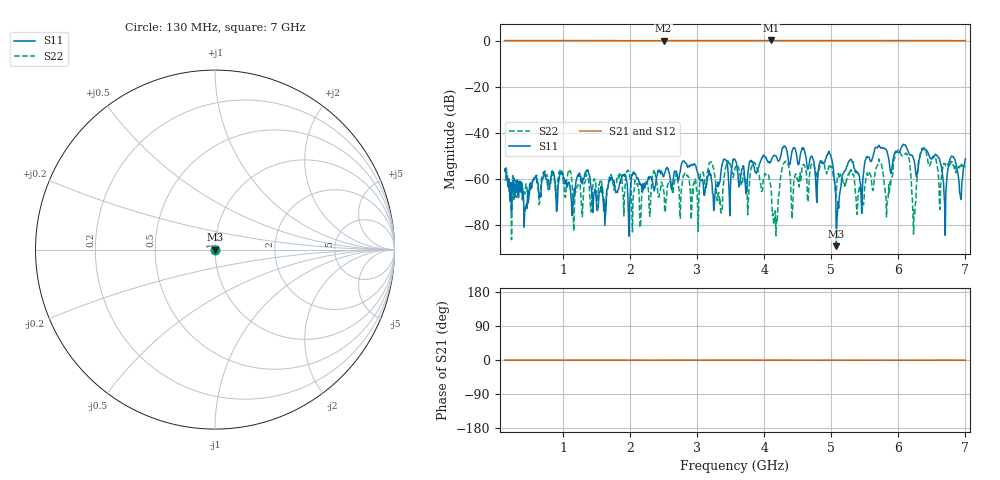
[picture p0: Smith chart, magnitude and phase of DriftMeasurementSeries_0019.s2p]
# Hz S RI R 50.000000
! Metas.Vna.Tools, 2.8.8664.20301
! Metas.Vna.Data, 2.8.8664.20285
! Created: UTC 2024.02.11 10:08:11
! FREQ  re:S1,1  im:S1,1  re:S2,1  im:S2,1  re:S1,2  im:S1,2  re:S2,2  im:S2,2
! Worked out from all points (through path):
!   801 points, 130 MHz to 7 GHz, reference 50 ohm
!   highest |S21| = 0.02 dB at 4.097 GHz (marker M1); lowest = -0.1 dB at 2.5 GHz (marker M2)
!   lowest |S11| = -89.2 dB at 5.076 GHz (marker M3), VSWR 1.00, Z = 50 - j0.00106 ohm
!   |S11| at or under -10 dB: start of sweep to end of sweep
!   |S22| runs from -86.4 to -46.5 dB; largest |S21 - S12| = 0.011
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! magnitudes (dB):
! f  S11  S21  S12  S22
! 130 MHz  -56.6  0.0  0.0  -60.7
! 447.7 MHz  -72.1  0.0  0.0  -62.3
! 1.281 GHz  -59.8  0.0  0.0  -72.5
! 2.423 GHz  -57.0  0.0  0.0  -67.9
! 2.5 GHz  -59.1  -0.1  0.0  -64.7
! 3.264 GHz  -67.5  0.0  0.0  -58.6
! 3.565 GHz  -51.5  0.0  0.0  -55.1
! 4.097 GHz  -52.6  0.0  0.0  -62.9
! 4.166 GHz  -49.9  0.0  0.0  -73.9
! 4.304 GHz  -46.1  0.0  0.0  -52.6
! 4.424 GHz  -47.4  0.0  0.0  -73.6
! 4.716 GHz  -50.3  0.0  0.0  -53.4
! 4.982 GHz  -49.3  0.0  0.0  -55.0
! 5.076 GHz  -89.2  0.0  0.0  -65.4
! 5.274 GHz  -52.1  0.0  0.0  -56.2
! 5.858 GHz  -51.6  0.0  0.0  -62.6
! 5.995 GHz  -48.6  0.0  0.0  -47.5
! 6.141 GHz  -47.9  0.0  0.0  -50.1
! 6.236 GHz  -52.0  0.0  0.0  -73.5
! 6.365 GHz  -47.3  0.0  0.0  -46.7
! 6.691 GHz  -71.1  0.0  0.0  -53.7
! 7 GHz  -51.3  -0.1  0.0  -54.9
